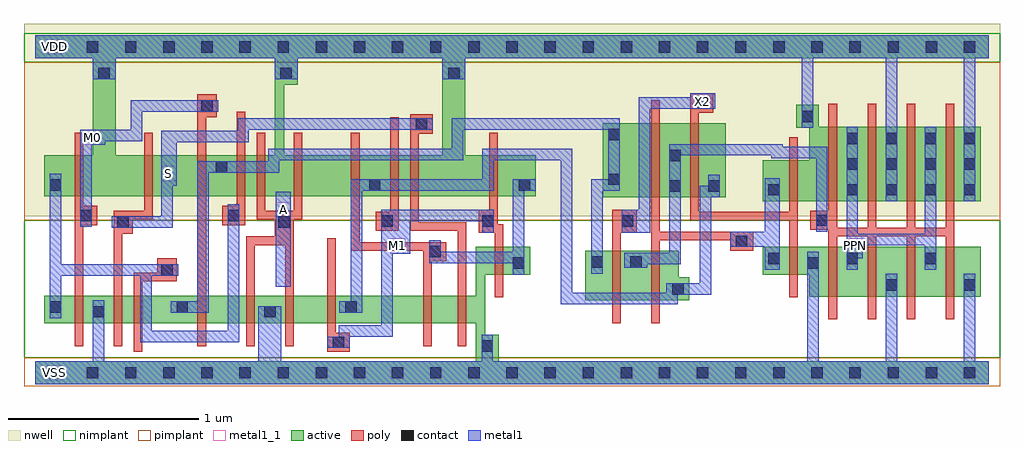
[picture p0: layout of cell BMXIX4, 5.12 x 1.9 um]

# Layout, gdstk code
import gdstk
lib = gdstk.Library(unit=1e-6, precision=5e-10)
def R(c, l, rs):  # rectangles x0, y0, x1, y1
    for r in rs: c.add(gdstk.rectangle(r[:2], r[2:], *l))
def A(c, l, x, y, w, h, nx, ny, dx, dy):  # array of equal rectangles
    R(c, l, [(x+i*dx, y+j*dy, x+i*dx+w, y+j*dy+h) for i in range(nx) for j in range(ny)])
def P(c, l, *ps):  # polygons
    for p in ps: c.add(gdstk.Polygon(p, *l))
active = (1, 0)
nwell = (2, 0)
poly = (3, 0)
nimplant = (4, 0)
pimplant = (5, 0)
contact = (6, 0)
metal1 = (7, 0)
metal1_1 = (7, 1)

bmxix4 = lib.new_cell('BMXIX4')
R(bmxix4, active, [(2.975,0.92,3.62,1.31)])
P(bmxix4, active, [(0,1.77),(5,1.77),(5,1.65),(2.255,1.65),(2.255,1.14),(2.625,1.14),(2.625,0.925),(0.045,0.925),(0.045,1.14),(0.3,1.14),(0.3,1.65),(0.42,1.65),(0.42,1.14),(1.255,1.14),(1.255,1.65),(1.375,1.65),(1.375,1.51),(1.305,1.51),(1.305,1.14),(2.135,1.14),(2.135,1.65),(0,1.65)],
  [(3.99,1.405),(4.11,1.405),(4.11,1.29),(4.96,1.29),(4.96,0.9),(3.815,0.9),(3.815,1.115),(4.06,1.115),(4.06,1.285),(3.99,1.285)],
  [(2.31,0.66),(2.595,0.66),(2.595,0.515),(2.36,0.515),(2.36,0.2),(2.43,0.2),(2.43,0.06),(5,0.06),(5,-0.06),(0,-0.06),(0,0.06),(2.31,0.06),(2.31,0.26),(0.045,0.26),(0.045,0.405),(2.31,0.405)],
  [(2.885,0.64),(3.375,0.64),(3.375,0.5),(3.43,0.5),(3.43,0.38),(2.885,0.38)],
  [(3.815,0.66),(4.96,0.66),(4.96,0.4),(4.06,0.4),(4.06,0.515),(3.815,0.515)])
R(bmxix4, nwell, [(-0.06,0.82,5.06,1.83)])
P(bmxix4, poly, [(0.205,1.26),(0.25,1.26),(0.25,0.875),(0.325,0.875),(0.325,0.775),(0.25,0.775),(0.25,0.14),(0.205,0.14)],
  [(0.85,1.46),(0.95,1.46),(0.95,1.34),(0.895,1.34),(0.895,0.14),(0.85,0.14)],
  [(1.965,1.355),(2.085,1.355),(2.085,1.255),(2.01,1.255),(2.01,0.79),(2.26,0.79),(2.26,0.14),(2.215,0.14),(2.215,0.745),(1.965,0.745)],
  [(0.57,1.26),(0.615,1.26),(0.615,0.805),(0.51,0.805),(0.51,0.73),(0.455,0.73),(0.455,0.14),(0.41,0.14),(0.41,0.85),(0.57,0.85)],
  [(1.055,1.37),(1.1,1.37),(1.1,0.775),(0.98,0.775),(0.98,0.875),(1.055,0.875)],
  [(1.16,1.26),(1.205,1.26),(1.205,0.85),(1.355,0.85),(1.355,1.26),(1.4,1.26),(1.4,0.805),(1.355,0.805),(1.355,0.14),(1.31,0.14),(1.31,0.67),(1.15,0.67),(1.15,0.14),(1.105,0.14),(1.105,0.715),(1.255,0.715),(1.255,0.805),(1.16,0.805)],
  [(1.655,1.26),(1.7,1.26),(1.7,0.685),(2.155,0.685),(2.155,0.585),(2.08,0.585),(2.08,0.14),(2.035,0.14),(2.035,0.64),(1.655,0.64)],
  [(1.86,1.34),(1.905,1.34),(1.905,0.745),(1.785,0.745),(1.785,0.845),(1.86,0.845)],
  [(3.435,1.465),(3.555,1.465),(3.555,1.365),(3.48,1.365),(3.48,0.845),(3.955,0.845),(3.955,1.235),(4,1.235),(4,0.395),(3.955,0.395),(3.955,0.8),(3.435,0.8)],
  [(2.38,1.26),(2.425,1.26),(2.425,0.78),(2.455,0.78),(2.455,0.395),(2.41,0.395),(2.41,0.735),(2.325,0.735),(2.325,0.855),(2.38,0.855)],
  [(3.23,1.43),(3.275,1.43),(3.275,0.74),(3.765,0.74),(3.765,0.64),(3.645,0.64),(3.645,0.695),(3.275,0.695),(3.275,0.26),(3.23,0.26)],
  [(4.16,1.41),(4.205,1.41),(4.205,0.76),(4.365,0.76),(4.365,1.41),(4.41,1.41),(4.41,0.76),(4.57,0.76),(4.57,1.41),(4.615,1.41),(4.615,0.76),(4.775,0.76),(4.775,1.41),(4.82,1.41),(4.82,0.28),(4.775,0.28),(4.775,0.715),(4.615,0.715),(4.615,0.28),(4.57,0.28),(4.57,0.715),(4.41,0.715),(4.41,0.28),(4.365,0.28),(4.365,0.715),(4.205,0.715),(4.205,0.28),(4.16,0.28),(4.16,0.75),(4.065,0.75),(4.065,0.85),(4.16,0.85)],
  [(0.64,0.6),(0.74,0.6),(0.74,0.48),(0.56,0.48),(0.56,0.11),(0.515,0.11),(0.515,0.525),(0.64,0.525)],
  [(3.025,0.855),(3.155,0.855),(3.155,0.735),(3.07,0.735),(3.07,0.26),(3.025,0.26)],
  [(1.53,0.705),(1.575,0.705),(1.575,0.21),(1.65,0.21),(1.65,0.11),(1.53,0.11)])
R(bmxix4, nimplant, [(-0.06,0.08,5.06,0.8), (-0.06,1.63,5.06,1.78)])
R(bmxix4, pimplant, [(-0.06,-0.07,5.06,0.08), (-0.06,0.8,5.06,1.63)])
A(bmxix4, contact, 0.07, -0.03, 0.06, 0.06, 25, 2, 0.2, 1.71)
A(bmxix4, contact, 3.845, 0.57, 0.06, 0.06, 3, 1, 0.41, 0)
A(bmxix4, contact, 4.255, 0.93, 0.06, 0.06, 4, 3, 0.205, 0.135)
R(bmxix4, contact, [(2.34,0.11,2.4,0.17), (1.56,0.13,1.62,0.19), (0.3,0.29,0.36,0.35), (1.2,0.29,1.26,0.35), (0.075,0.315,0.135,0.375), (0.74,0.315,0.8,0.375), (1.625,0.315,1.685,0.375), (3.34,0.41,3.4,0.47), (4.46,0.43,4.52,0.49), (4.87,0.43,4.93,0.49), (0.66,0.51,0.72,0.57), (2.505,0.545,2.565,0.605), (4.05,0.545,4.11,0.605), (2.915,0.55,2.975,0.61), (3.12,0.55,3.18,0.61), (2.065,0.605,2.125,0.665), (3.675,0.66,3.735,0.72), (0.43,0.76,0.49,0.82), (1.275,0.76,1.335,0.82), (1.815,0.765,1.875,0.825), (2.345,0.765,2.405,0.825), (3.075,0.765,3.135,0.825), (4.095,0.77,4.155,0.83), (0.235,0.795,0.295,0.855), (1.01,0.795,1.07,0.855), (3.845,0.93,3.905,0.99), (3.325,0.95,3.385,1.01), (3.53,0.95,3.59,1.01), (0.075,0.955,0.135,1.015), (1.75,0.955,1.81,1.015), (2.535,0.955,2.595,1.015), (3.005,0.985,3.065,1.045), (0.945,1.05,1.005,1.11), (3.325,1.11,3.385,1.17), (3.005,1.22,3.065,1.28), (1.995,1.275,2.055,1.335), (4.02,1.315,4.08,1.375), (0.87,1.37,0.93,1.43), (3.465,1.385,3.525,1.445), (0.33,1.54,0.39,1.6), (1.285,1.54,1.345,1.6), (2.165,1.54,2.225,1.6)])
R(bmxix4, metal1, [(1.26,0.45,1.34,0.95)])
P(bmxix4, metal1, [(0,1.77),(5,1.77),(5,1.65),(4.93,1.65),(4.93,0.9),(4.87,0.9),(4.87,1.65),(4.52,1.65),(4.52,0.9),(4.46,0.9),(4.46,1.65),(4.08,1.65),(4.08,1.285),(4.02,1.285),(4.02,1.65),(2.255,1.65),(2.255,1.54),(2.135,1.54),(2.135,1.65),(1.375,1.65),(1.375,1.54),(1.255,1.54),(1.255,1.65),(0.42,1.65),(0.42,1.54),(0.3,1.54),(0.3,1.65),(0,1.65)],
  [(3.435,1.465),(3.565,1.465),(3.565,1.385),(3.225,1.385),(3.225,0.735),(3.075,0.735),(3.075,0.855),(3.165,0.855),(3.165,1.445),(3.435,1.445)],
  [(0.5,1.43),(0.96,1.43),(0.96,1.37),(0.56,1.37),(0.56,1.215),(0.365,1.215),(0.365,1.195),(0.295,1.195),(0.295,0.765),(0.235,0.765),(0.235,1.275),(0.5,1.275)],
  [(1.06,1.335),(2.085,1.335),(2.085,1.275),(1.12,1.275),(1.12,1.21),(0.74,1.21),(0.74,0.98),(0.72,0.98),(0.72,0.76),(0.4,0.76),(0.4,0.82),(0.66,0.82),(0.66,1.27),(1.06,1.27)],
  [(2.185,1.335),(3.065,1.335),(3.065,0.955),(2.975,0.955),(2.975,0.52),(2.915,0.52),(2.915,1.015),(3.005,1.015),(3.005,1.275),(2.245,1.275),(2.245,1.115),(1.28,1.115),(1.28,1.05),(0.91,1.05),(0.91,0.315),(0.71,0.315),(0.71,0.375),(0.85,0.375),(0.85,1.11),(1.22,1.11),(1.22,1.175),(2.185,1.175)],
  [(0.075,1.045),(0.135,1.045),(0.135,0.57),(0.75,0.57),(0.75,0.51),(0.61,0.51),(0.61,0.22),(1.01,0.22),(1.01,0.885),(1.07,0.885),(1.07,0.16),(0.55,0.16),(0.55,0.51),(0.135,0.51),(0.135,0.285),(0.075,0.285)],
  [(2.345,1.175),(2.815,1.175),(2.815,0.42),(3.31,0.42),(3.31,0.47),(3.485,0.47),(3.485,0.98),(3.53,0.98),(3.53,1.04),(3.59,1.04),(3.59,0.92),(3.545,0.92),(3.545,0.41),(3.37,0.41),(3.37,0.36),(2.755,0.36),(2.755,1.115),(2.405,1.115),(2.405,0.955),(1.715,0.955),(1.715,0.315),(1.595,0.315),(1.595,0.375),(1.655,0.375),(1.655,1.015),(2.345,1.015)],
  [(2.505,1.015),(2.625,1.015),(2.625,0.955),(2.565,0.955),(2.565,0.515),(2.505,0.515),(2.505,0.575),(2.065,0.575),(2.065,0.695),(2.125,0.695),(2.125,0.635),(2.505,0.635)],
  [(0.3,0.38),(0.36,0.38),(0.36,0.06),(1.17,0.06),(1.17,0.35),(1.29,0.35),(1.29,0.06),(2.34,0.06),(2.34,0.2),(2.4,0.2),(2.4,0.06),(4.05,0.06),(4.05,0.635),(4.11,0.635),(4.11,0.06),(4.46,0.06),(4.46,0.52),(4.52,0.52),(4.52,0.06),(4.87,0.06),(4.87,0.52),(4.93,0.52),(4.93,0.06),(5,0.06),(5,-0.06),(0,-0.06),(0,0.06),(0.3,0.06)],
  [(2.405,0.855),(1.815,0.855),(1.815,0.25),(1.59,0.25),(1.59,0.19),(1.53,0.19),(1.53,0.13),(1.65,0.13),(1.65,0.19),(1.875,0.19),(1.875,0.625),(1.965,0.625),(1.965,0.795),(2.345,0.795),(2.345,0.735),(2.405,0.735)],
  [(3.325,1.2),(3.92,1.2),(3.92,1.185),(4.155,1.185),(4.155,0.74),(4.095,0.74),(4.095,1.125),(3.86,1.125),(3.86,1.14),(3.385,1.14),(3.385,0.57),(3.21,0.57),(3.21,0.55),(3.09,0.55),(3.09,0.63),(3.325,0.63)],
  [(4.255,1.29),(4.315,1.29),(4.315,0.73),(4.665,0.73),(4.665,1.29),(4.725,1.29),(4.725,0.54),(4.665,0.54),(4.665,0.67),(4.34,0.67),(4.34,0.6),(4.315,0.6),(4.315,0.54),(4.255,0.54)],
  [(3.825,1.02),(3.905,1.02),(3.905,0.54),(3.825,0.54),(3.825,0.66),(3.645,0.66),(3.645,0.74),(3.825,0.74)])
R(bmxix4, metal1_1, [(0.06,-0.04,0.14,0.04), (1.86,0.625,1.94,0.705), (4.26,0.625,4.34,0.705), (1.26,0.815,1.34,0.895), (0.66,1.005,0.74,1.085), (0.26,1.195,0.34,1.275), (3.46,1.385,3.54,1.465), (0.06,1.67,0.14,1.75)])
bmxix4.add(gdstk.Label('M1', (1.9,0.665), layer=7, texttype=1))
bmxix4.add(gdstk.Label('A', (1.3,0.855), layer=7, texttype=1))
bmxix4.add(gdstk.Label('S', (0.7,1.045), layer=7, texttype=1))
bmxix4.add(gdstk.Label('M0', (0.3,1.235), layer=7, texttype=1))
bmxix4.add(gdstk.Label('PPN', (4.3,0.665), layer=7, texttype=1))
bmxix4.add(gdstk.Label('X2', (3.5,1.425), layer=7, texttype=1))
bmxix4.add(gdstk.Label('VDD', (0.1,1.71), layer=7, texttype=1))
bmxix4.add(gdstk.Label('VSS', (0.1,0), layer=7, texttype=1))
bmxix4.add(gdstk.Label('BMXIX4', (0,0), layer=63, texttype=0))

lib.write_gds('BMXIX4.gds')
